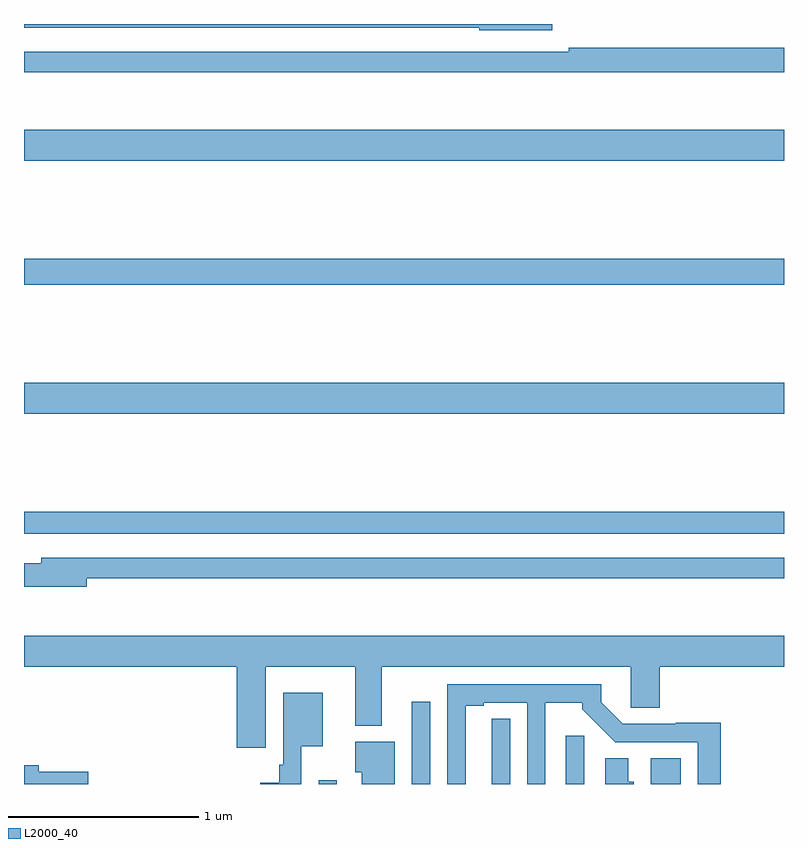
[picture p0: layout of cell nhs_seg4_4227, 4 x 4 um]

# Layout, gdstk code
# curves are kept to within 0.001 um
import gdstk
lib = gdstk.Library(unit=1e-6, precision=1e-09)
def R(c, l, rs):  # rectangles x0, y0, x1, y1
    for r in rs: c.add(gdstk.rectangle(r[:2], r[2:], *l))
def P(c, l, *ps):  # polygons
    for p in ps: c.add(gdstk.Polygon(p, *l))
L2000_40 = (2000, 40)

nhs_seg4_4227 = lib.new_cell('nhs_seg4_4227')
R(nhs_seg4_4227, L2000_40, [(338.55,766.9,338.645,766.921), (339.042,766.9,339.138,767.332), (339.852,766.9,339.948,767.155), (340.298,766.9,340.456,767.036), (337,768.216,341,768.332), (337,768.848,341,769.012), (337,769.528,341,769.664), (337,770.18,341,770.344)])
P(nhs_seg4_4227, L2000_40, [(339.781,770.9),(337,770.9),(337,770.88),(339.396,770.88),(339.396,770.867),(339.781,770.867)],
  [(341,770.774),(339.868,770.774),(339.868,770.754),(337,770.754),(337,770.646),(341,770.646)],
  [(337.33,767.982),(341,767.982),(341,768.09),(337.091,768.09),(337.091,768.061),(337,768.061),(337,767.939),(337.33,767.939)],
  [(338.272,767.516),(338.744,767.516),(338.744,767.207),(338.884,767.207),(338.884,767.516),(340.194,767.516),(340.194,767.302),(340.346,767.302),(340.346,767.516),(341,767.516),(341,767.68),(337,767.68),(337,767.516),(338.12,767.516),(338.12,767.091),(338.272,767.091)],
  [(339.325,767.313),(339.421,767.313),(339.421,767.328),(339.648,767.328),(339.648,766.9),(339.744,766.9),(339.744,767.327),(339.938,767.327),(339.938,767.293),(340.112,767.121),(340.545,767.121),(340.545,766.9),(340.666,766.9),(340.666,767.222),(340.429,767.222),(340.429,767.217),(340.152,767.217),(340.039,767.331),(340.039,767.424),(339.228,767.424),(339.228,766.9),(339.325,766.9)],
  [(338.46,767.099),(338.572,767.099),(338.572,767.38),(338.364,767.38),(338.364,767.002),(338.344,767.002),(338.344,766.906),(338.243,766.906),(338.243,766.9),(338.46,766.9)],
  [(339.558,767.243),(339.462,767.243),(339.462,767.135),(339.461,767.135),(339.461,766.9),(339.558,766.9)],
  [(338.95,767.122),(338.744,767.122),(338.744,766.961),(338.777,766.961),(338.777,766.9),(338.95,766.9)],
  [(340.21,766.912),(340.18,766.912),(340.18,767.036),(340.058,767.036),(340.058,766.9),(340.21,766.9)],
  [(337.339,766.964),(337.078,766.964),(337.078,767),(337,767),(337,766.9),(337.339,766.9)])

lib.write_gds('nhs_seg4_4227.gds')
